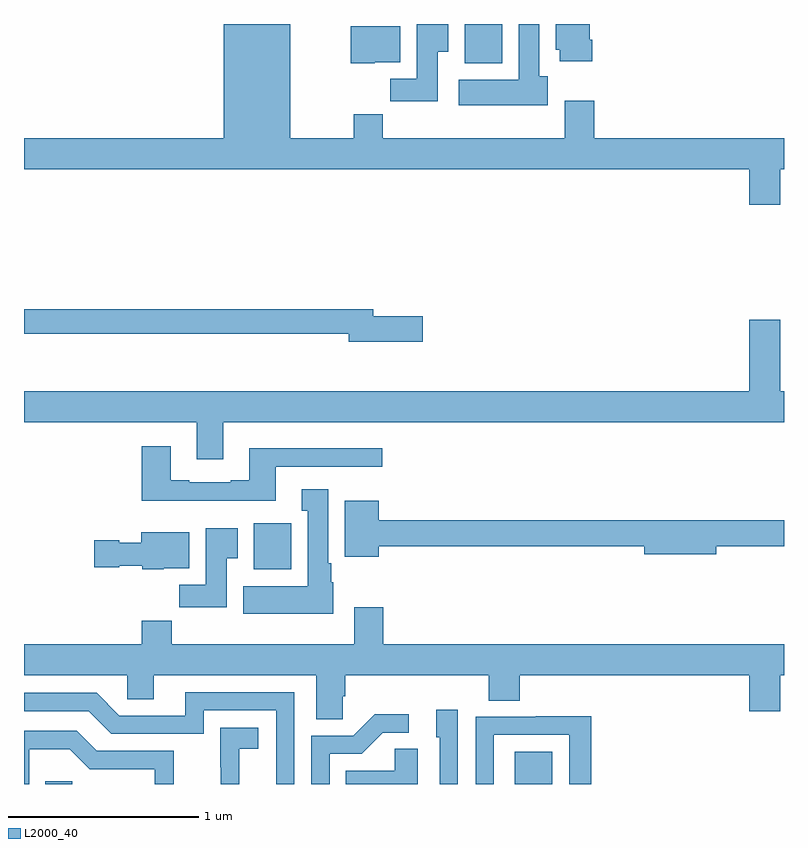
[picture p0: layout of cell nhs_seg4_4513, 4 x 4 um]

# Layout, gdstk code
import gdstk
lib = gdstk.Library(unit=1e-6, precision=1e-09)
def R(c, l, rs):  # rectangles x0, y0, x1, y1
    for r in rs: c.add(gdstk.rectangle(r[:2], r[2:], *l))
def P(c, l, *ps):  # polygons
    for p in ps: c.add(gdstk.Polygon(p, *l))
L2000_40 = (2000, 40)

nhs_seg4_4513 = lib.new_cell('nhs_seg4_4513')
R(nhs_seg4_4513, L2000_40, [(353.113,810.9,353.253,810.915), (355.583,810.9,355.78,811.069), (354.209,812.03,354.406,812.272), (355.319,814.694,355.516,814.9)])
P(nhs_seg4_4513, L2000_40, [(355.177,814.753),(355.234,814.753),(355.234,814.9),(355.067,814.9),(355.067,814.612),(354.928,814.612),(354.928,814.494),(355.177,814.494)],
  [(355.756,814.626),(355.711,814.626),(355.711,814.9),(355.604,814.9),(355.604,814.606),(355.287,814.606),(355.287,814.472),(355.756,814.472)],
  [(356.98,814.136),(357,814.136),(357,814.3),(356,814.3),(356,814.495),(355.847,814.495),(355.847,814.3),(354.887,814.3),(354.887,814.424),(354.736,814.424),(354.736,814.3),(354.4,814.3),(354.4,814.9),(354.05,814.9),(354.05,814.3),(353,814.3),(353,814.136),(356.816,814.136),(356.816,813.948),(356.98,813.948)],
  [(355.991,814.816),(355.978,814.816),(355.978,814.9),(355.799,814.9),(355.799,814.764),(355.82,814.764),(355.82,814.704),(355.991,814.704)],
  [(354.846,814.7),(354.979,814.7),(354.979,814.888),(354.721,814.888),(354.721,814.694),(354.846,814.694)],
  [(355.099,813.362),(354.838,813.362),(354.838,813.398),(353,813.398),(353,813.27),(354.71,813.27),(354.71,813.227),(355.099,813.227)],
  [(354.049,812.804),(357,812.804),(357,812.968),(356.98,812.968),(356.98,813.343),(356.816,813.343),(356.816,812.968),(353,812.968),(353,812.804),(353.909,812.804),(353.909,812.61),(354.049,812.61)],
  [(354.325,812.571),(354.886,812.571),(354.886,812.668),(354.185,812.668),(354.185,812.5),(354.089,812.5),(354.089,812.487),(353.869,812.487),(353.869,812.5),(353.773,812.5),(353.773,812.677),(353.621,812.677),(353.621,812.39),(354.325,812.39)],
  [(354.628,811.962),(354.616,811.962),(354.616,812.062),(354.601,812.062),(354.601,812.452),(354.461,812.452),(354.461,812.339),(354.494,812.339),(354.494,811.942),(354.155,811.942),(354.155,811.796),(354.628,811.796)],
  [(354.868,812.152),(356.264,812.152),(356.264,812.11),(356.644,812.11),(356.644,812.152),(357,812.152),(357,812.288),(354.868,812.288),(354.868,812.392),(354.689,812.392),(354.689,812.096),(354.868,812.096)],
  [(354.067,812.089),(354.124,812.089),(354.124,812.245),(353.957,812.245),(353.957,811.948),(353.818,811.948),(353.818,811.83),(354.067,811.83)],
  [(353.736,812.036),(353.869,812.036),(353.869,812.224),(353.618,812.224),(353.618,812.17),(353.502,812.17),(353.502,812.183),(353.37,812.183),(353.37,812.041),(353.502,812.041),(353.502,812.048),(353.622,812.048),(353.622,812.03),(353.736,812.03)],
  [(354.678,811.363),(354.692,811.363),(354.692,811.472),(355.445,811.472),(355.445,811.339),(355.61,811.339),(355.61,811.472),(356.816,811.472),(356.816,811.284),(356.98,811.284),(356.98,811.472),(357,811.472),(357,811.636),(354.89,811.636),(354.89,811.831),(354.737,811.831),(354.737,811.636),(353.777,811.636),(353.777,811.76),(353.621,811.76),(353.621,811.636),(353,811.636),(353,811.472),(353.544,811.472),(353.544,811.345),(353.683,811.345),(353.683,811.472),(354.539,811.472),(354.539,811.24),(354.678,811.24)],
  [(354.423,811.383),(353.849,811.383),(353.849,811.26),(353.502,811.26),(353.382,811.38),(353,811.38),(353,811.284),(353.34,811.284),(353.46,811.164),(353.946,811.164),(353.946,811.287),(354.327,811.287),(354.327,810.9),(354.423,810.9)],
  [(355.284,811.291),(355.169,811.291),(355.169,811.146),(355.188,811.146),(355.188,810.9),(355.284,810.9)],
  [(354.609,811.059),(354.778,811.059),(354.889,811.17),(355.024,811.17),(355.024,811.268),(354.845,811.268),(354.732,811.155),(354.513,811.155),(354.513,810.9),(354.609,810.9)],
  [(355.473,811.158),(355.869,811.158),(355.869,810.9),(355.985,810.9),(355.985,811.256),(355.693,811.256),(355.693,811.254),(355.377,811.254),(355.377,810.9),(355.473,810.9)],
  [(354.134,811.085),(354.232,811.085),(354.232,811.195),(354.034,811.195),(354.034,810.989),(354.035,810.989),(354.035,810.9),(354.134,810.9)],
  [(353.028,811.082),(353.242,811.082),(353.346,810.978),(353.688,810.978),(353.688,810.9),(353.787,810.9),(353.787,811.074),(353.383,811.074),(353.278,811.179),(353,811.179),(353,810.9),(353.028,810.9)],
  [(355.072,811.085),(354.951,811.085),(354.951,810.97),(354.694,810.97),(354.694,810.9),(355.072,810.9)])

lib.write_gds('nhs_seg4_4513.gds')
